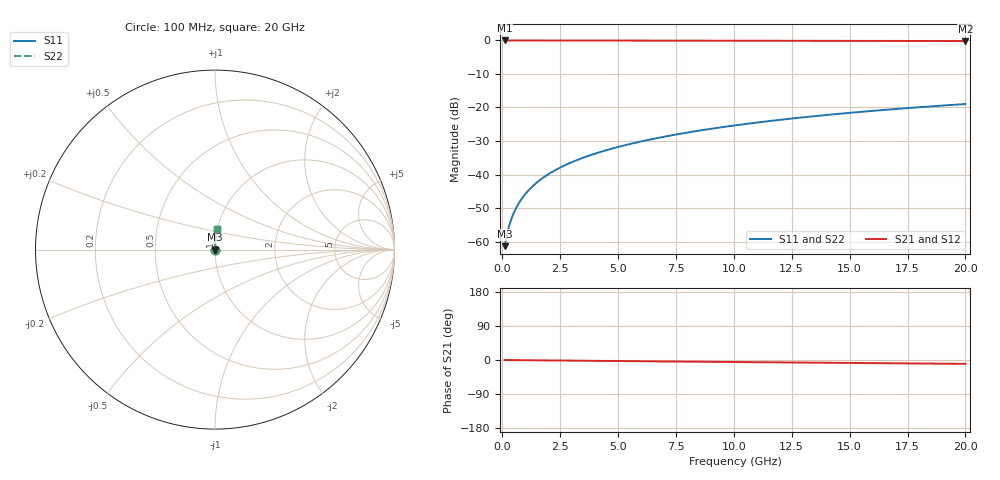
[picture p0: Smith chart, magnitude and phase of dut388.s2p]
! Touchstone file exported from HFSS 2024.1.0
!  File:  C:/UserFiles/LocalFiles/RDL_TSV_Batchsim/temp_RDL_top_388_1779609674.aedt
!  Generated:  04:03:37 PM May 24, 2026
!  Design:  RDL_top
!  Project:  temp_RDL_top_388_1779609674
!  Setup:  Setup1
!  Solution:  Sweep
! Variables:
!  dtsv = 10.80580581um
!  hbump = 3um
!  htsv = 75.62um
!  ldown = 100um
!  lrdl = 125.13um
!  p = 40
!  p1 = 42.93um
!  rhole = 1um
!  t = 450um
!  tdown = 3.915915916um
!  trdl = 4.56um
!  wdown = 15.38538539um
!  wrdl = 19.81um
# GHz S MA R 50.000000
! Terminal data exported
! Port[1] = Box2_T1
! Port[2] = Box2_T2
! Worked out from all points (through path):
!   200 points, 100 MHz to 20 GHz, reference 50 ohm
!   highest |S21| = -0.01 dB at 100 MHz (marker M1); lowest = -0.2 dB at 20 GHz (marker M2)
!   group delay of S21, straight-line fit = 1.4 ps
!   lowest |S11| = -61.4 dB at 100 MHz (marker M3), VSWR 1.00, Z = 50.1 + j0.0553 ohm
!   |S11| at or under -10 dB: start of sweep to end of sweep
!   |S22| runs from -61.4 to -19.0 dB; largest |S21 - S12| = 3.1e-15
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0.1  0.0008547 40.2  0.9993 -0.1  0.9993 -0.1  0.0008548 40.2
! Gamma 0 0 0 0
! Port Impedance 50 0 50 0
0.2  0.00128 57.6  0.9993 -0.1  0.9993 -0.1  0.00128 57.6
0.3  0.001744 65.8  0.9993 -0.2  0.9993 -0.2  0.001744 65.8
0.4  0.002218 70.7  0.9992 -0.2  0.9992 -0.2  0.002218 70.7
0.5  0.002697 73.9  0.9992 -0.3  0.9992 -0.3  0.002697 73.9
0.6  0.003181 76.3  0.9992 -0.3  0.9992 -0.3  0.003181 76.3
0.8  0.004161 79.5  0.9991 -0.5  0.9991 -0.5  0.004161 79.5
1.1  0.005649 82.3  0.999 -0.6  0.999 -0.6  0.005649 82.3
1.5  0.007652 84.5  0.9988 -0.9  0.9988 -0.9  0.007652 84.5
1.8  0.009166 85.5  0.9987 -1.0  0.9987 -1.0  0.009166 85.5
2.1  0.01069 86.3  0.9985 -1.2  0.9985 -1.2  0.01069 86.3
2.7  0.01375 87.3  0.9981 -1.5  0.9981 -1.5  0.01375 87.3
3.5  0.01787 88.2  0.9974 -2.0  0.9974 -2.0  0.01787 88.2
4.2  0.02154 88.7  0.9967 -2.4  0.9967 -2.4  0.02154 88.7
5  0.02578 89.1  0.9959 -2.8  0.9959 -2.8  0.02578 89.1
5.9  0.03065 89.4  0.9948 -3.3  0.9948 -3.3  0.03065 89.4
6.8  0.0356 89.5  0.9938 -3.7  0.9938 -3.7  0.0356 89.5
8.4  0.04461 89.3  0.9919 -4.6  0.9919 -4.6  0.0446 89.3
10.1  0.05439 88.9  0.9899 -5.4  0.9899 -5.4  0.05439 88.9
13.4  0.07376 87.5  0.9862 -7.0  0.9862 -7.0  0.07376 87.5
16.7  0.09326 85.7  0.9826 -8.6  0.9826 -8.6  0.09326 85.7
20  0.1127 83.8  0.9792 -10.2  0.9792 -10.2  0.1127 83.8
